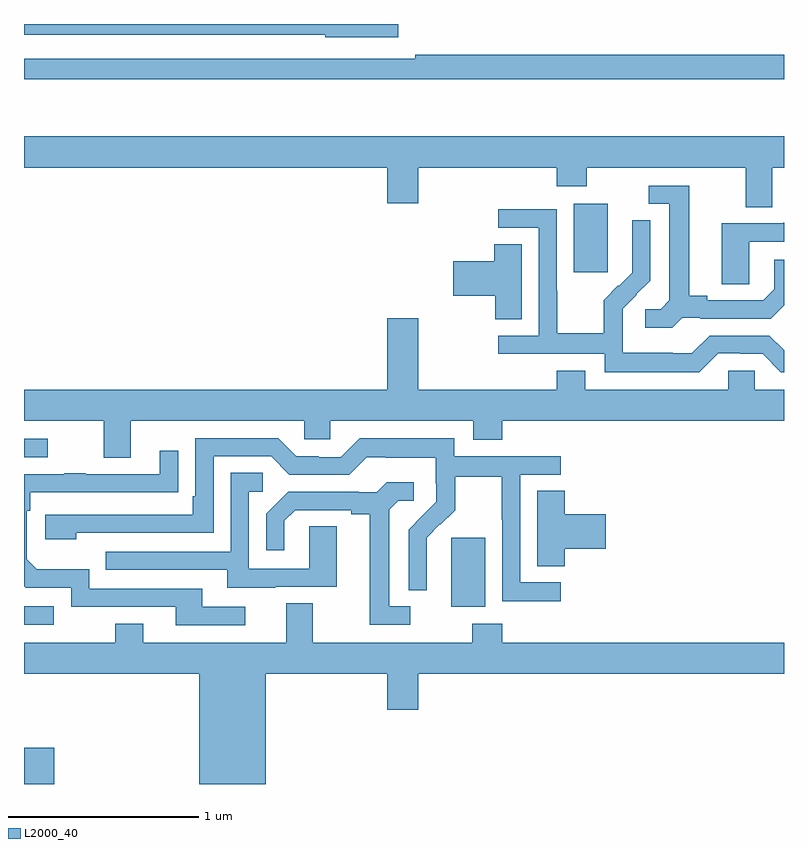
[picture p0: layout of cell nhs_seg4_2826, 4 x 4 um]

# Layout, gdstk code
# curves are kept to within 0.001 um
import gdstk
lib = gdstk.Library(unit=1e-6, precision=1e-09)
def R(c, l, rs):  # rectangles x0, y0, x1, y1
    for r in rs: c.add(gdstk.rectangle(r[:2], r[2:], *l))
def P(c, l, *ps):  # polygons
    for p in ps: c.add(gdstk.Polygon(p, *l))
L2000_40 = (2000, 40)

nhs_seg4_2826 = lib.new_cell('nhs_seg4_2826')
R(nhs_seg4_2826, L2000_40, [(259,802.9,259.16,803.092), (259,803.739,259.156,803.835), (261.248,803.834,261.427,804.195), (259,804.621,259.126,804.717), (261.893,805.593,262.072,805.954)])
P(nhs_seg4_2826, L2000_40, [(260.971,806.9),(259,806.9),(259,806.844),(260.586,806.844),(260.586,806.831),(260.971,806.831)],
  [(263,806.738),(261.058,806.738),(261.058,806.718),(259,806.718),(259,806.61),(263,806.61)],
  [(262.939,806.144),(263,806.144),(263,806.308),(259,806.308),(259,806.144),(260.912,806.144),(260.912,805.956),(261.076,805.956),(261.076,806.144),(261.803,806.144),(261.803,806.045),(261.963,806.045),(261.963,806.144),(262.799,806.144),(262.799,805.936),(262.939,805.936)],
  [(262.464,805.353),(262.558,805.353),(262.558,805.35),(262.93,805.35),(263,805.42),(263,805.66),(262.949,805.66),(262.949,805.503),(262.892,805.446),(262.597,805.446),(262.597,805.469),(262.501,805.469),(262.501,806.049),(262.287,806.049),(262.287,805.953),(262.397,805.953),(262.397,805.445),(262.35,805.398),(262.269,805.398),(262.269,805.301),(262.412,805.301)],
  [(262.653,805.167),(262.769,805.167),(262.769,805.164),(262.887,805.164),(262.983,805.068),(263,805.068),(263,805.183),(262.923,805.26),(262.608,805.26),(262.515,805.167),(262.415,805.167),(262.415,805.171),(262.152,805.171),(262.152,805.305),(262.15,805.305),(262.15,805.402),(262.296,805.55),(262.296,805.868),(262.2,805.868),(262.2,805.714),(262.202,805.714),(262.202,805.592),(262.131,805.521),(262.128,805.524),(262.051,805.447),(262.051,805.273),(261.807,805.273),(261.807,805.496),(261.804,805.496),(261.804,805.926),(261.495,805.926),(261.495,805.827),(261.708,805.827),(261.708,805.26),(261.495,805.26),(261.495,805.164),(262.056,805.164),(262.056,805.067),(262.553,805.067)],
  [(262.818,805.755),(263,805.755),(263,805.855),(262.997,805.855),(262.997,805.851),(262.673,805.851),(262.673,805.531),(262.818,805.531)],
  [(261.619,805.742),(261.476,805.742),(261.476,805.652),(261.258,805.652),(261.258,805.469),(261.481,805.469),(261.481,805.345),(261.619,805.345)],
  [(259.561,804.812),(260.475,804.812),(260.475,804.714),(260.613,804.714),(260.613,804.812),(261.365,804.812),(261.365,804.713),(261.518,804.713),(261.518,804.812),(263,804.812),(263,804.976),(262.845,804.976),(262.845,805.074),(262.707,805.074),(262.707,804.976),(261.955,804.976),(261.955,805.075),(261.803,805.075),(261.803,804.976),(261.076,804.976),(261.076,805.351),(260.912,805.351),(260.912,804.976),(259,804.976),(259,804.812),(259.421,804.812),(259.421,804.618),(259.561,804.618)],
  [(261.826,803.961),(261.612,803.961),(261.612,804.528),(261.826,804.528),(261.826,804.624),(261.264,804.624),(261.264,804.721),(260.767,804.721),(260.667,804.621),(260.552,804.621),(260.552,804.624),(260.433,804.624),(260.337,804.72),(259.902,804.72),(259.902,804.415),(259.889,804.415),(259.889,804.318),(259.113,804.318),(259.113,804.188),(259.274,804.188),(259.274,804.222),(259.998,804.222),(259.998,804.624),(260.301,804.624),(260.397,804.528),(260.712,804.528),(260.805,804.621),(260.905,804.621),(260.905,804.617),(261.168,804.617),(261.168,804.483),(261.17,804.483),(261.17,804.386),(261.024,804.238),(261.024,803.92),(261.12,803.92),(261.119,804.197),(261.189,804.267),(261.192,804.264),(261.269,804.341),(261.269,804.516),(261.514,804.516),(261.514,804.292),(261.516,804.292),(261.516,803.863),(261.826,803.863)],
  [(260.164,803.832),(259.939,803.832),(259.939,803.928),(259.344,803.928),(259.344,804.031),(259.067,804.031),(259.014,804.084),(259.014,804.338),(259.034,804.338),(259.034,804.435),(259.811,804.436),(259.811,804.655),(259.715,804.655),(259.715,804.531),(259.325,804.531),(259.325,804.536),(259.213,804.536),(259.213,804.531),(259,804.531),(259,803.942),(259.008,803.934),(259.248,803.934),(259.248,803.832),(259.799,803.832),(259.799,803.736),(260.164,803.736)],
  [(260.323,803.937),(260.647,803.937),(260.647,804.257),(260.502,804.257),(260.502,804.033),(260.184,804.033),(260.184,804.438),(260.257,804.438),(260.257,804.539),(260.088,804.539),(260.088,804.123),(259.429,804.123),(259.429,804.027),(260.069,804.027),(260.069,803.933),(260.323,803.933)],
  [(261.034,803.835),(260.923,803.835),(260.923,804.343),(260.97,804.39),(261.052,804.39),(261.052,804.487),(260.908,804.487),(260.856,804.435),(260.762,804.435),(260.762,804.438),(260.39,804.438),(260.274,804.322),(260.274,804.129),(260.371,804.129),(260.371,804.285),(260.428,804.342),(260.723,804.342),(260.723,804.32),(260.819,804.32),(260.819,803.739),(261.034,803.739)],
  [(261.845,804.137),(262.063,804.137),(262.063,804.32),(261.845,804.32),(261.845,804.443),(261.701,804.443),(261.701,804.046),(261.845,804.046)],
  [(260.272,803.48),(260.912,803.48),(260.912,803.292),(261.076,803.292),(261.076,803.48),(263,803.48),(263,803.644),(261.518,803.644),(261.518,803.743),(261.358,803.743),(261.358,803.644),(260.521,803.644),(260.521,803.852),(260.381,803.852),(260.381,803.644),(259.627,803.644),(259.627,803.743),(259.48,803.743),(259.48,803.644),(259,803.644),(259,803.48),(259.922,803.48),(259.922,802.9),(260.272,802.9)])

lib.write_gds('nhs_seg4_2826.gds')
